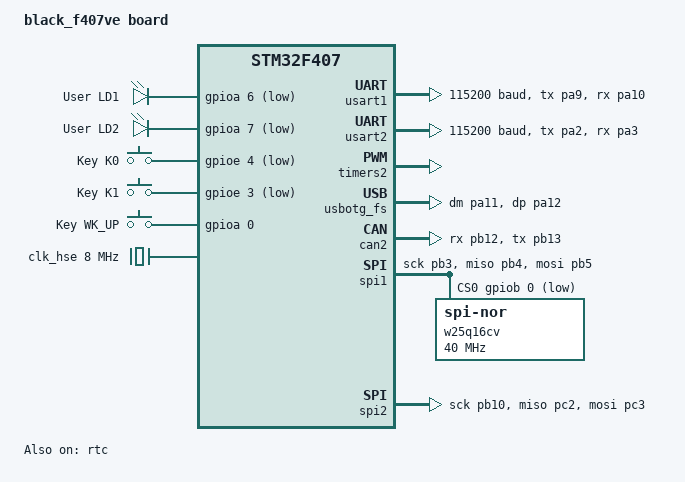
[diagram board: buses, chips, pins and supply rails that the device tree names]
/*
 * Copyright (c) 2020 Intel Corporation
 *
 * SPDX-License-Identifier: Apache-2.0
 */

/dts-v1/;
#include <st/f4/stm32f407Xe.dtsi>
#include <st/f4/stm32f407v(e-g)tx-pinctrl.dtsi>
#include <zephyr/dt-bindings/input/input-event-codes.h>

/ {
	model = "black_f407ve board";
	compatible = "black-stm32f407";

	chosen {
		zephyr,console = &usart1;
		zephyr,shell-uart = &usart1;
		zephyr,sram = &sram0;
		zephyr,flash = &flash0;
		zephyr,ccm = &ccm0;
		zephyr,canbus = &can2;
	};

	leds {
		compatible = "gpio-leds";
		green_led_1: led_1 {
			gpios = <&gpioa 6 GPIO_ACTIVE_LOW>;
			label = "User LD1";
		};
		green_led_2: led_2 {
			gpios = <&gpioa 7 GPIO_ACTIVE_LOW>;
			label = "User LD2";
		};
	};

	gpio_keys {
		compatible = "gpio-keys";
		user_button_0: K0 {
			label = "Key K0";
			gpios = <&gpioe 4 GPIO_ACTIVE_LOW>;
			zephyr,code = <INPUT_KEY_0>;
		};
		user_button_1: K1 {
			label = "Key K1";
			gpios = <&gpioe 3 GPIO_ACTIVE_LOW>;
			zephyr,code = <INPUT_KEY_1>;
		};
		user_button_UP: K_UP {
			label = "Key WK_UP";
			gpios = <&gpioa 0 GPIO_ACTIVE_HIGH>;
			zephyr,code = <INPUT_KEY_UP>;
		};
	};

	aliases {
		led0 = &green_led_1;
		led1 = &green_led_2;
		sw0 = &user_button_UP;
	};
};

&clk_lsi {
	status = "okay";
};

&clk_hse {
	clock-frequency = <DT_FREQ_M(8)>;
	status = "okay";
};

&pll {
	div-m = <8>;
	mul-n = <336>;
	div-p = <2>;
	div-q = <7>;
	clocks = <&clk_hse>;
	status = "okay";
};

&rcc {
	clocks = <&pll>;
	clock-frequency = <DT_FREQ_M(168)>;
	ahb-prescaler = <1>;
	apb1-prescaler = <4>;
	apb2-prescaler = <2>;
};

&usart1 {
	pinctrl-0 = <&usart1_tx_pa9 &usart1_rx_pa10>;
	pinctrl-names = "default";
	current-speed = <115200>;
	status = "okay";
};

&usart2 {
	pinctrl-0 = <&usart2_tx_pa2 &usart2_rx_pa3>;
	pinctrl-names = "default";
	current-speed = <115200>;
	status = "okay";
};

&timers2 {
	status = "okay";

	pwm2: pwm {
		status = "okay";
		pinctrl-0 = <&tim2_ch1_pa0>;
		pinctrl-names = "default";
	};
};

&rtc {
	clocks = <&rcc STM32_CLOCK(APB1, 28)>,
		 <&rcc STM32_SRC_LSI RTC_SEL(2)>;
	status = "okay";
};

zephyr_udc0: &usbotg_fs {
	pinctrl-0 = <&usb_otg_fs_dm_pa11 &usb_otg_fs_dp_pa12>;
	pinctrl-names = "default";
	status = "okay";
};

&can1 {
	pinctrl-0 = <&can1_rx_pd0 &can1_tx_pd1>;
	pinctrl-names = "default";
	status = "disabled";
};

&can2 {
	pinctrl-0 = <&can2_rx_pb12 &can2_tx_pb13>;
	pinctrl-names = "default";
	status = "okay";
};

&spi1 {
	pinctrl-0 = <&spi1_sck_pb3 &spi1_miso_pb4 &spi1_mosi_pb5>;
	pinctrl-names = "default";
	status = "okay";
	cs-gpios = <&gpiob 0 GPIO_ACTIVE_LOW>;
	w25q16cv: w25q16cv@0 {
		compatible = "jedec,spi-nor";
		reg = <0>;
		spi-max-frequency = <40000000>;
		size = <0x1000000>;
		has-dpd;
		t-enter-dpd = <4000>;
		t-exit-dpd = <25000>;
		jedec-id = [ef 40 15];
	};
};

&spi2 {
	pinctrl-0 = <&spi2_sck_pb10 &spi2_miso_pc2 &spi2_mosi_pc3>;
	pinctrl-names = "default";
	status = "okay";
};
